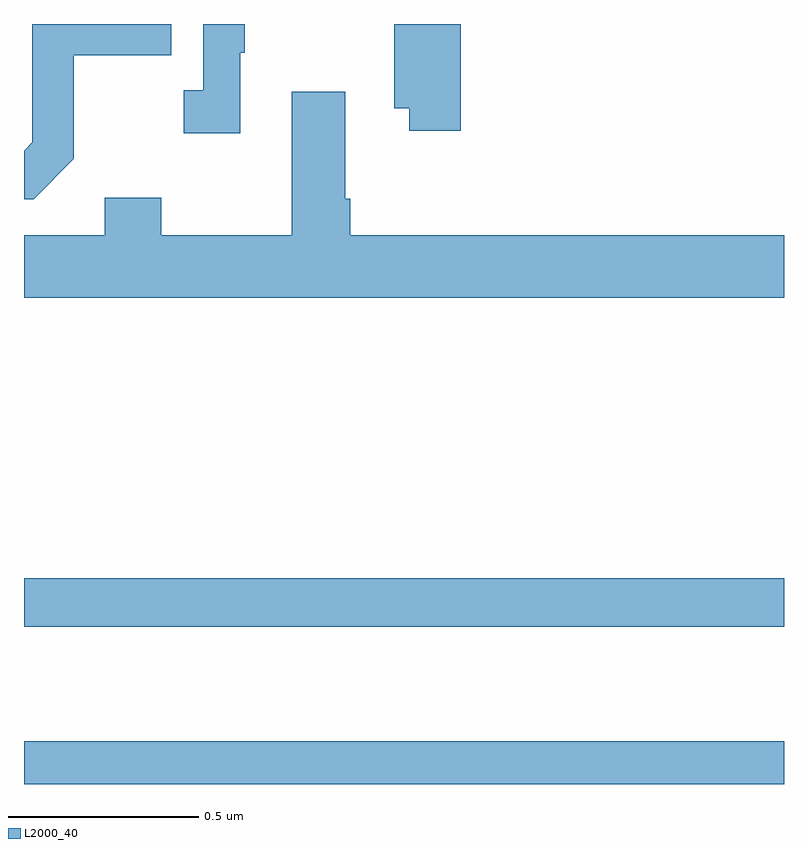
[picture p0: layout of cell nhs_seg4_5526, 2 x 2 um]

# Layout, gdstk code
import gdstk
lib = gdstk.Library(unit=1e-6, precision=1e-09)
def R(c, l, rs):  # rectangles x0, y0, x1, y1
    for r in rs: c.add(gdstk.rectangle(r[:2], r[2:], *l))
def P(c, l, *ps):  # polygons
    for p in ps: c.add(gdstk.Polygon(p, *l))
L2000_40 = (2000, 40)

nhs_seg4_5526 = lib.new_cell('nhs_seg4_5526')
R(nhs_seg4_5526, L2000_40, [(179,768.9,181,769.012), (179,769.314,181,769.442)])
P(nhs_seg4_5526, L2000_40, [(180.149,770.9),(179.974,770.9),(179.974,770.678),(180.014,770.678),(180.014,770.619),(180.149,770.619)],
  [(179.131,770.545),(179.131,770.818),(179.387,770.818),(179.387,770.9),(179.022,770.9),(179.022,770.589),(179,770.567),(179,770.439),(179.025,770.439)],
  [(179.569,770.825),(179.581,770.825),(179.581,770.9),(179.472,770.9),(179.472,770.726),(179.421,770.726),(179.421,770.613),(179.569,770.613)],
  [(181,770.344),(179.858,770.344),(179.858,770.44),(179.845,770.44),(179.845,770.722),(179.705,770.722),(179.705,770.344),(179.361,770.344),(179.361,770.443),(179.213,770.443),(179.213,770.344),(179,770.344),(179,770.18),(181,770.18)])

lib.write_gds('nhs_seg4_5526.gds')
